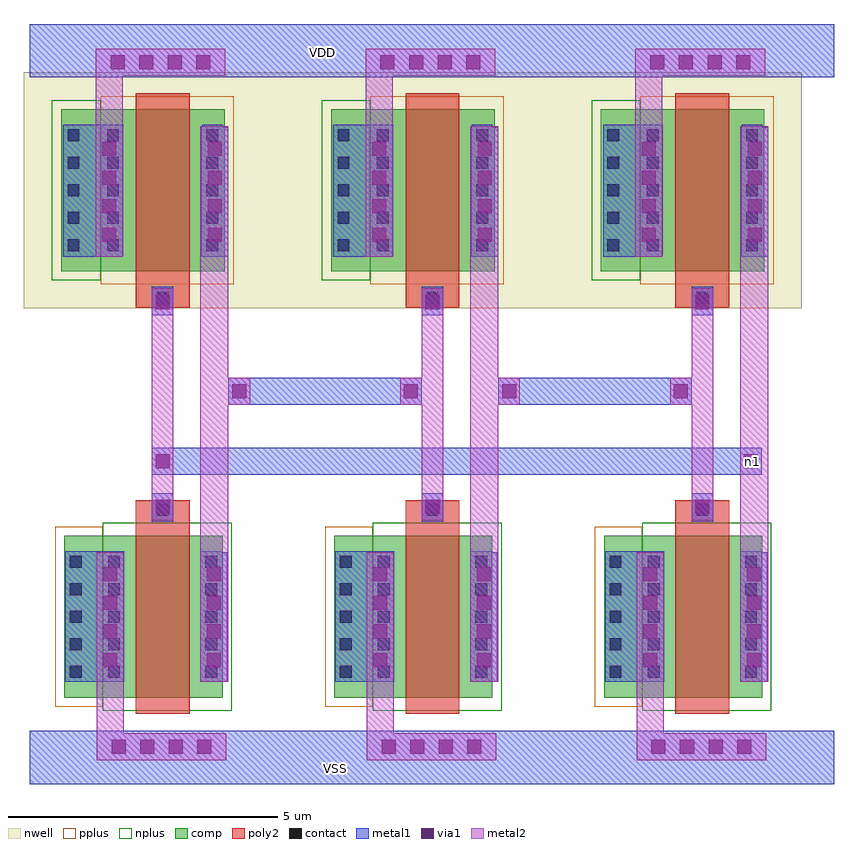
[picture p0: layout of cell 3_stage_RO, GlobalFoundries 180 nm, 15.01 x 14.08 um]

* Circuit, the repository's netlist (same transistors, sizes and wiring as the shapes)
* Extracted by KLayout with GF180MCU LVS runset on : 31/08/2025 02:23

.SUBCKT 3_stage_RO VSS n1 VDD
M$1 \$2 n1 VDD VDD pfet_03v3 L=1U W=3U AS=1.95P AD=1.95P PS=7.3U PD=7.3U
M$2 \$3 \$2 VDD VDD pfet_03v3 L=1U W=3U AS=1.95P AD=1.95P PS=7.3U PD=7.3U
M$3 n1 \$3 VDD VDD pfet_03v3 L=1U W=3U AS=1.95P AD=1.95P PS=7.3U PD=7.3U
M$4 \$2 n1 VSS VSS nfet_03v3 L=1U W=3U AS=1.83P AD=1.83P PS=7.22U PD=7.22U
M$5 \$3 \$2 VSS VSS nfet_03v3 L=1U W=3U AS=1.83P AD=1.83P PS=7.22U PD=7.22U
M$6 n1 \$3 VSS VSS nfet_03v3 L=1U W=3U AS=1.83P AD=1.83P PS=7.22U PD=7.22U
.ENDS 3_stage_RO

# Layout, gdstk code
import gdstk
lib = gdstk.Library(unit=1e-6, precision=1e-09)
def R(c, l, rs):  # rectangles x0, y0, x1, y1
    for r in rs: c.add(gdstk.rectangle(r[:2], r[2:], *l))
def A(c, l, x, y, w, h, nx, ny, dx, dy):  # array of equal rectangles
    R(c, l, [(x+i*dx, y+j*dy, x+i*dx+w, y+j*dy+h) for i in range(nx) for j in range(ny)])
nwell = (21, 0)
comp = (22, 0)
poly2 = (30, 0)
pplus = (31, 0)
nplus = (32, 0)
contact = (33, 0)
metal1 = (34, 0)
via1 = (35, 0)
metal2 = (36, 0)

c_3_stage_ro = lib.new_cell('3_stage_RO')
A(c_3_stage_ro, nwell, -1.87, 8.78, 4.41, 4.38, 3, 1, 5, 0)
R(c_3_stage_ro, nwell, [(2.54,8.78,8.13,13.16)])
A(c_3_stage_ro, comp, -1.12, 1.57, 0.71, 3, 3, 1, 5, 0)
A(c_3_stage_ro, comp, 0.01, 1.57, 1.38, 3, 3, 2, 5, 7.9)
A(c_3_stage_ro, comp, -1.18, 9.47, 0.73, 3, 3, 1, 5, 0)
R(c_3_stage_ro, comp, [(-0.41,1.57,0.01,4.57), (1.39,1.57,1.81,4.57), (4.59,1.57,5.01,4.57), (6.39,1.57,6.81,4.57), (9.59,1.57,10.01,4.57), (11.39,1.57,11.81,4.57), (-0.45,9.47,0.01,12.47), (1.39,9.47,1.85,12.47), (4.55,9.47,5.01,12.47), (6.39,9.47,6.85,12.47), (9.55,9.47,10.01,12.47), (11.39,9.47,11.85,12.47)])
A(c_3_stage_ro, poly2, 0.2, 1.27, 1, 3.6, 3, 2, 5, 7.9)
A(c_3_stage_ro, poly2, 0.2, 4.87, 1, 0.36, 3, 1, 5, 0)
A(c_3_stage_ro, poly2, 0.2, 8.79, 1, 0.38, 3, 1, 5, 0)
A(c_3_stage_ro, pplus, -1.29, 1.4, 0.88, 3.34, 3, 1, 5, 0)
A(c_3_stage_ro, pplus, -0.45, 9.23, 2.47, 3.48, 3, 1, 5, 0)
A(c_3_stage_ro, nplus, -0.41, 1.33, 2.39, 3.48, 3, 1, 5, 0)
A(c_3_stage_ro, nplus, -1.35, 9.3, 0.9, 3.34, 3, 1, 5, 0)
A(c_3_stage_ro, contact, -1.02, 1.94, 0.22, 0.22, 1, 5, 0, 0.51)
A(c_3_stage_ro, contact, -0.31, 1.94, 0.22, 0.22, 1, 5, 0, 0.51)
A(c_3_stage_ro, contact, 1.49, 1.94, 0.22, 0.22, 1, 5, 0, 0.51)
A(c_3_stage_ro, contact, 3.98, 1.94, 0.22, 0.22, 1, 5, 0, 0.51)
A(c_3_stage_ro, contact, 4.69, 1.94, 0.22, 0.22, 1, 5, 0, 0.51)
A(c_3_stage_ro, contact, 6.49, 1.94, 0.22, 0.22, 1, 5, 0, 0.51)
A(c_3_stage_ro, contact, 8.98, 1.94, 0.22, 0.22, 1, 5, 0, 0.51)
A(c_3_stage_ro, contact, 9.69, 1.94, 0.22, 0.22, 1, 5, 0, 0.51)
A(c_3_stage_ro, contact, 11.49, 1.94, 0.22, 0.22, 1, 5, 0, 0.51)
A(c_3_stage_ro, contact, 0.59, 4.94, 0.22, 0.22, 3, 2, 5, 3.93)
A(c_3_stage_ro, contact, -1.06, 9.84, 0.22, 0.22, 1, 5, 0, 0.51)
A(c_3_stage_ro, contact, -0.33, 9.84, 0.22, 0.22, 1, 5, 0, 0.51)
A(c_3_stage_ro, contact, 1.51, 9.84, 0.22, 0.22, 1, 5, 0, 0.51)
A(c_3_stage_ro, contact, 3.94, 9.84, 0.22, 0.22, 1, 5, 0, 0.51)
A(c_3_stage_ro, contact, 4.67, 9.84, 0.22, 0.22, 1, 5, 0, 0.51)
A(c_3_stage_ro, contact, 6.51, 9.84, 0.22, 0.22, 1, 5, 0, 0.51)
A(c_3_stage_ro, contact, 8.94, 9.84, 0.22, 0.22, 1, 5, 0, 0.51)
A(c_3_stage_ro, contact, 9.67, 9.84, 0.22, 0.22, 1, 5, 0, 0.51)
A(c_3_stage_ro, contact, 11.51, 9.84, 0.22, 0.22, 1, 5, 0, 0.51)
A(c_3_stage_ro, metal1, -1.76, -0.03, 4.9, 0.99, 3, 2, 5, 13.09)
A(c_3_stage_ro, metal1, -0.52, 0.41, 2.4, 0.5, 3, 1, 5, 0)
A(c_3_stage_ro, metal1, -0.72, 1.86, 0.33, 2.42, 3, 1, 5, 0)
A(c_3_stage_ro, metal1, 0.5, 4.83, 0.4, 0.03, 3, 2, 5, 4.32)
A(c_3_stage_ro, metal1, 0.51, 4.859, 0.38, 0.382, 3, 2, 5, 3.93)
A(c_3_stage_ro, metal1, 0.5, 4.86, 0.4, 0.5, 3, 2, 5, 3.79)
A(c_3_stage_ro, metal1, -1.14, 9.74, 0.73, 2.44, 3, 1, 5, 0)
A(c_3_stage_ro, metal1, -0.54, 13.09, 2.4, 0.5, 3, 1, 5, 0)
R(c_3_stage_ro, metal1, [(-1.76,-0.03,13.14,0.96), (-1.1,1.86,-0.72,4.28), (-0.52,1.86,-0.02,4.26), (-0.39,1.86,-0.01,4.28), (1.4,1.86,1.9,4.26), (1.41,1.86,1.79,4.28), (3.9,1.86,4.28,4.28), (4.48,1.86,4.98,4.26), (4.61,1.86,4.99,4.28), (6.4,1.86,6.9,4.26), (6.41,1.86,6.79,4.28), (8.9,1.86,9.28,4.28), (9.48,1.86,9.98,4.26), (9.61,1.86,9.99,4.28), (11.4,1.86,11.9,4.26), (11.41,1.86,11.79,4.28), (0.5,5.7,11.4,6.2), (0.5,5.7,0.9,6.2), (11.4,5.7,11.8,6.2), (1.92,7,2.32,7.5), (2.32,7,5.1,7.5), (5.1,7,5.5,7.5), (6.92,7,7.32,7.5), (7.32,7,10.1,7.5), (10.1,7,10.5,7.5), (-0.54,9.74,-0.04,12.14), (1.42,9.74,1.92,12.14), (4.46,9.74,4.96,12.14), (6.42,9.74,6.92,12.14), (9.46,9.74,9.96,12.14), (11.42,9.74,11.92,12.14), (-1.14,9.76,-0.76,12.18), (-0.41,9.76,-0.03,12.18), (1.43,9.76,1.81,12.18), (3.86,9.76,4.24,12.18), (4.59,9.76,4.97,12.18), (6.43,9.76,6.81,12.18), (8.86,9.76,9.24,12.18), (9.59,9.76,9.97,12.18), (11.43,9.76,11.81,12.18), (-1.76,13.06,13.14,14.05)])
A(c_3_stage_ro, via1, -0.245, 0.53, 0.26, 0.26, 4, 1, 0.53, 0)
A(c_3_stage_ro, via1, 4.755, 0.53, 0.26, 0.26, 4, 1, 0.53, 0)
A(c_3_stage_ro, via1, 9.755, 0.53, 0.26, 0.26, 4, 1, 0.53, 0)
A(c_3_stage_ro, via1, -0.4, 2.135, 0.26, 0.26, 1, 4, 0, 0.53)
A(c_3_stage_ro, via1, 1.52, 2.135, 0.26, 0.26, 1, 4, 0, 0.53)
A(c_3_stage_ro, via1, 4.6, 2.135, 0.26, 0.26, 1, 4, 0, 0.53)
A(c_3_stage_ro, via1, 6.52, 2.135, 0.26, 0.26, 1, 4, 0, 0.53)
A(c_3_stage_ro, via1, 9.6, 2.135, 0.26, 0.26, 1, 4, 0, 0.53)
A(c_3_stage_ro, via1, 11.52, 2.135, 0.26, 0.26, 1, 4, 0, 0.53)
A(c_3_stage_ro, via1, 0.57, 4.98, 0.26, 0.26, 3, 2, 5, 3.79)
A(c_3_stage_ro, via1, -0.42, 10.015, 0.26, 0.26, 1, 4, 0, 0.53)
A(c_3_stage_ro, via1, 1.54, 10.015, 0.26, 0.26, 1, 4, 0, 0.53)
A(c_3_stage_ro, via1, 4.58, 10.015, 0.26, 0.26, 1, 4, 0, 0.53)
A(c_3_stage_ro, via1, 6.54, 10.015, 0.26, 0.26, 1, 4, 0, 0.53)
A(c_3_stage_ro, via1, 9.58, 10.015, 0.26, 0.26, 1, 4, 0, 0.53)
A(c_3_stage_ro, via1, 11.54, 10.015, 0.26, 0.26, 1, 4, 0, 0.53)
A(c_3_stage_ro, via1, -0.265, 13.21, 0.26, 0.26, 4, 1, 0.53, 0)
A(c_3_stage_ro, via1, 4.735, 13.21, 0.26, 0.26, 4, 1, 0.53, 0)
A(c_3_stage_ro, via1, 9.735, 13.21, 0.26, 0.26, 4, 1, 0.53, 0)
R(c_3_stage_ro, via1, [(0.57,5.82,0.83,6.08), (11.47,5.82,11.73,6.08), (1.99,7.12,2.25,7.38), (5.17,7.12,5.43,7.38), (6.99,7.12,7.25,7.38), (10.17,7.12,10.43,7.38)])
A(c_3_stage_ro, metal2, -0.52, 0.41, 2.4, 0.5, 3, 1, 5, 0)
A(c_3_stage_ro, metal2, -0.52, 0.91, 0.5, 0.95, 3, 1, 5, 0)
A(c_3_stage_ro, metal2, 1.4, 1.86, 0.52, 10.3, 3, 1, 5, 0)
A(c_3_stage_ro, metal2, 0.5, 4.86, 0.4, 0.5, 3, 2, 5, 3.79)
A(c_3_stage_ro, metal2, 0.5, 5.36, 0.4, 3.29, 3, 1, 5, 0)
A(c_3_stage_ro, metal2, -0.54, 12.14, 0.5, 0.95, 3, 1, 5, 0)
A(c_3_stage_ro, metal2, -0.54, 13.09, 2.4, 0.5, 3, 1, 5, 0)
R(c_3_stage_ro, metal2, [(-0.52,1.86,-0.02,4.26), (1.4,1.86,1.9,4.26), (4.48,1.86,4.98,4.26), (6.4,1.86,6.9,4.26), (9.48,1.86,9.98,4.26), (11.4,1.86,11.9,4.26), (0.5,5.7,0.9,6.2), (11.4,5.7,11.8,6.2), (1.92,7,2.32,7.5), (5.1,7,5.5,7.5), (6.92,7,7.32,7.5), (10.1,7,10.5,7.5), (-0.54,9.74,-0.04,12.14), (1.42,9.74,1.92,12.14), (4.46,9.74,4.96,12.14), (6.42,9.74,6.92,12.14), (9.46,9.74,9.96,12.14), (11.42,9.74,11.92,12.14)])
c_3_stage_ro.add(gdstk.Label('VDD', (3.67,13.52), layer=34, texttype=10))
c_3_stage_ro.add(gdstk.Label('VSS', (3.9,0.26), layer=34, texttype=10))
c_3_stage_ro.add(gdstk.Label('n1', (11.63,5.94), layer=34, texttype=10))

lib.write_gds('3_stage_RO.gds')
